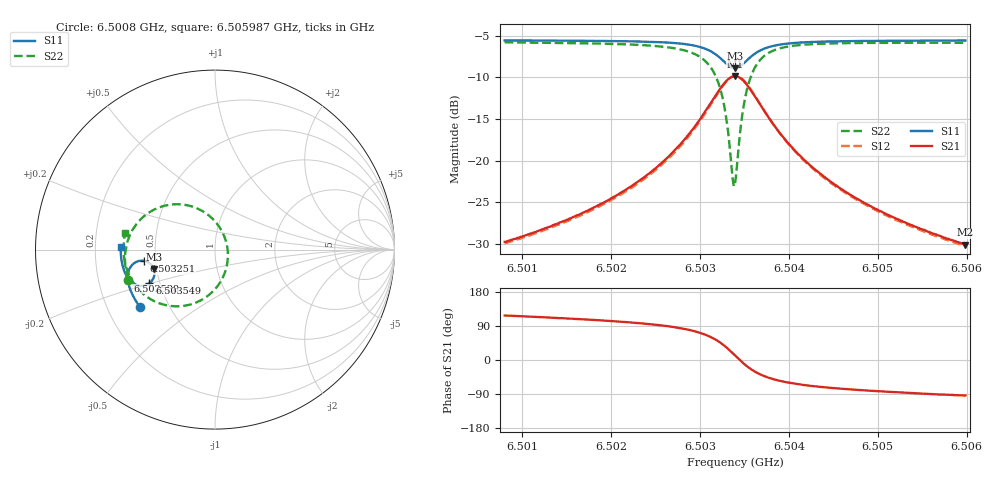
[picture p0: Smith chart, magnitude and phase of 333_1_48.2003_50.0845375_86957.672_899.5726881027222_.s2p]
#  HZ  S  RI  R  50.00
! Rohde & Schwarz Vector Network Analyzer
! Rohde-Schwarz,ZNB20-2Port,1311601062101988,3.16
! Created: UTC 3/20/2024, 11:50:58 AM
! freq[Hz]  re:S11  im:S11  re:S21  im:S21  re:S12  im:S12  re:S22  im:S22
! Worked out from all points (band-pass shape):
!   401 points, 6.5008 GHz to 6.505987 GHz, reference 50 ohm
!   highest |S21| = -9.86 dB at 6.503394 GHz (marker M1); lowest = -30.1 dB at 6.505987 GHz (marker M2)
!   |S21| within 3 dB of the highest: 6.503134 GHz to 6.503652 GHz (518.3 kHz wide, 0.00797 % of centre)
!   lowest |S11| = -8.9 dB at 6.503394 GHz (marker M3), VSWR 2.11, Z = 24.1 - j6.12 ohm
!   |S11| at or under -10 dB: nowhere
!   |S22| runs from -23.1 to -5.8 dB; largest |S21 - S12| = 0.011
!   S11 on the Smith chart (normalised r, x): 6.5008 GHz: 0.34, -0.30; 6.502538 GHz: 0.33, -0.15; 6.503251 GHz: 0.43, -0.06; 6.503549 GHz: 0.44, -0.20; 6.505987 GHz: 0.31, +0.01
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6.5008001e9  -0.4193 -0.3185  -0.015 0.0289  -0.0134 0.029  -0.4854 -0.1675
6.501669e9  -0.4577 -0.2555  -0.0145 0.0461  -0.0122 0.0458  -0.501 -0.0776
6.5021228e9  -0.4743 -0.2163  -0.0122 0.0637  -0.0092 0.0627  -0.4998 -0.0158
6.5025378e9  -0.4851 -0.1719  -0.00335 0.0936  0.000234 0.0916  -0.4814 0.0634
6.5027972e9  -0.4847 -0.1353  0.0152 0.1278  0.0189 0.1241  -0.4427 0.1357
6.5029787e9  -0.4736 -0.1021  0.0494 0.1636  0.0526 0.1583  -0.3754 0.2015
6.5031473e9  -0.4396 -0.0691  0.1257 0.1966  0.1271 0.1902  -0.2352 0.2518
6.5032511e9  -0.3976 -0.0621  0.2099 0.1878  0.2102 0.1825  -0.0889 0.2246
6.5033029e9  -0.3724 -0.0706  0.2573 0.1603  0.2582 0.1557  -0.00998 0.1682
6.5033678e9  -0.3463 -0.0964  0.3044 0.098  0.3068 0.0929  0.0607 0.0482
6.5033937e9  -0.3401 -0.1106  0.3143 0.0665  0.3173 0.0606  0.0713 -0.0103
6.5034067e9  -0.3383 -0.1181  0.3169 0.05  0.32 0.0438  0.072 -0.0404
6.5034586e9  -0.3391 -0.1483  0.3114 -0.0142  0.314 -0.0229  0.044 -0.1542
6.5034845e9  -0.3442 -0.1619  0.3002 -0.0425  0.302 -0.0523  0.0151 -0.2021
6.5035493e9  -0.3649 -0.1872  0.2584 -0.0955  0.2572 -0.1063  -0.079 -0.2827
6.5036531e9  -0.4035 -0.2019  0.1855 -0.131  0.1805 -0.14  -0.2251 -0.3159
6.5038217e9  -0.4487 -0.1919  0.1061 -0.1282  0.0992 -0.133  -0.3685 -0.2703
6.5040032e9  -0.4757 -0.1705  0.0626 -0.1088  0.0565 -0.111  -0.4391 -0.2069
6.5042626e9  -0.4962 -0.1405  0.0333 -0.0853  0.0287 -0.0857  -0.4815 -0.1358
6.5046646e9  -0.5121 -0.0994  0.0144 -0.0621  0.011 -0.0618  -0.5041 -0.0596
6.5051315e9  -0.5211 -0.0569  0.00488 -0.0466  0.00269 -0.046  -0.5097 0.00409
6.5059874e9  -0.5257 0.0152  -0.00201 -0.0313  -0.00331 -0.0305  -0.5012 0.0928
